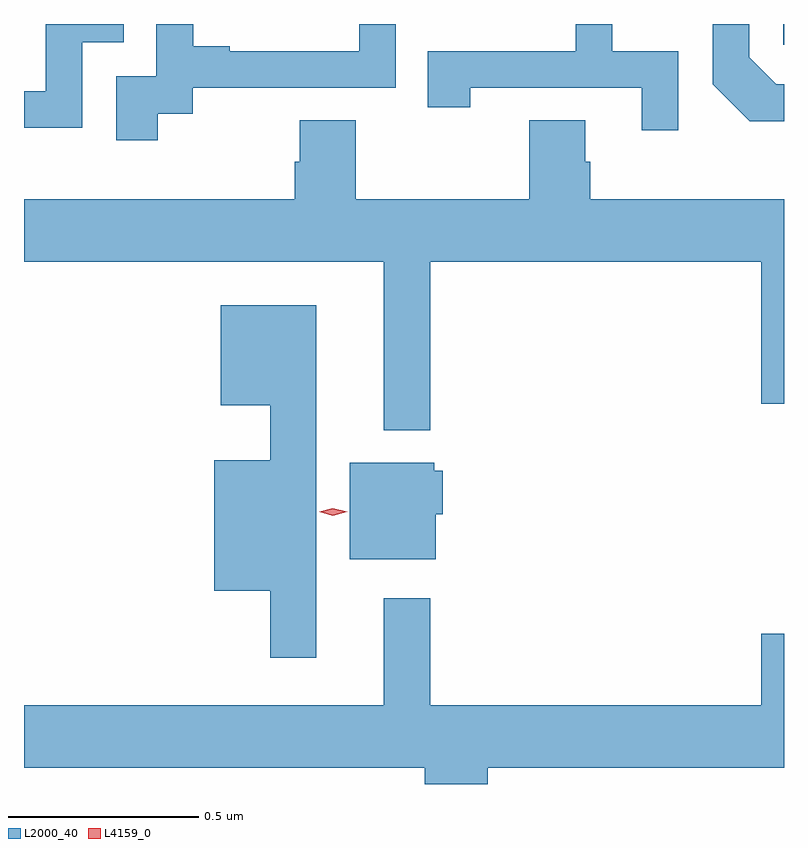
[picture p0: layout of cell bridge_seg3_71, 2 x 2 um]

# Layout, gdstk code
import gdstk
lib = gdstk.Library(unit=1e-6, precision=1e-09)
def R(c, l, rs):  # rectangles x0, y0, x1, y1
    for r in rs: c.add(gdstk.rectangle(r[:2], r[2:], *l))
def P(c, l, *ps):  # polygons
    for p in ps: c.add(gdstk.Polygon(p, *l))
L2000_40 = (2000, 40)
L4159_0 = (4159, 0)

bridge_seg3_71 = lib.new_cell('bridge_seg3_71')
R(bridge_seg3_71, L2000_40, [(416.814,677.511,416.816,677.565)])
P(bridge_seg3_71, L2000_40, [(416.816,677.406),(416.796,677.406),(416.724,677.478),(416.724,677.565),(416.628,677.565),(416.628,677.406),(416.726,677.309),(416.816,677.309)],
  [(414.969,677.517),(415.079,677.517),(415.079,677.565),(414.873,677.565),(414.873,677.388),(414.816,677.388),(414.816,677.292),(414.969,677.292)],
  [(415.168,677.329),(415.26,677.329),(415.26,677.397),(415.794,677.397),(415.794,677.565),(415.698,677.565),(415.698,677.493),(415.357,677.493),(415.357,677.506),(415.262,677.506),(415.262,677.565),(415.164,677.565),(415.164,677.427),(415.059,677.427),(415.059,677.259),(415.168,677.259)],
  [(416.538,677.493),(416.364,677.493),(416.364,677.565),(416.268,677.565),(416.268,677.493),(415.879,677.493),(415.879,677.346),(415.99,677.346),(415.99,677.397),(416.441,677.397),(416.441,677.286),(416.538,677.286)],
  [(416.756,676.566),(416.816,676.566),(416.816,677.104),(416.306,677.104),(416.306,677.202),(416.293,677.202),(416.293,677.312),(416.146,677.312),(416.146,677.104),(415.689,677.104),(415.689,677.312),(415.541,677.312),(415.541,677.202),(415.529,677.202),(415.529,677.104),(414.816,677.104),(414.816,676.94),(415.763,676.94),(415.763,676.496),(415.885,676.496),(415.885,676.94),(416.756,676.94)],
  [(415.585,676.825),(415.334,676.825),(415.334,676.562),(415.464,676.562),(415.464,676.417),(415.316,676.417),(415.316,676.073),(415.464,676.073),(415.464,675.897),(415.585,675.897)],
  [(415.9,676.275),(415.918,676.275),(415.918,676.389),(415.896,676.389),(415.896,676.411),(415.673,676.411),(415.673,676.157),(415.9,676.157)],
  [(416.036,675.608),(416.816,675.608),(416.816,675.961),(416.756,675.961),(416.756,675.772),(415.885,675.772),(415.885,676.054),(415.763,676.054),(415.763,675.772),(414.816,675.772),(414.816,675.608),(415.871,675.608),(415.871,675.565),(416.036,675.565)])
P(bridge_seg3_71, L4159_0, [(415.629,676.271),(415.593,676.281),(415.592,676.281),(415.593,676.281),(415.629,676.291),(415.666,676.282),(415.666,676.281),(415.666,676.281)])

lib.write_gds('bridge_seg3_71.gds')
